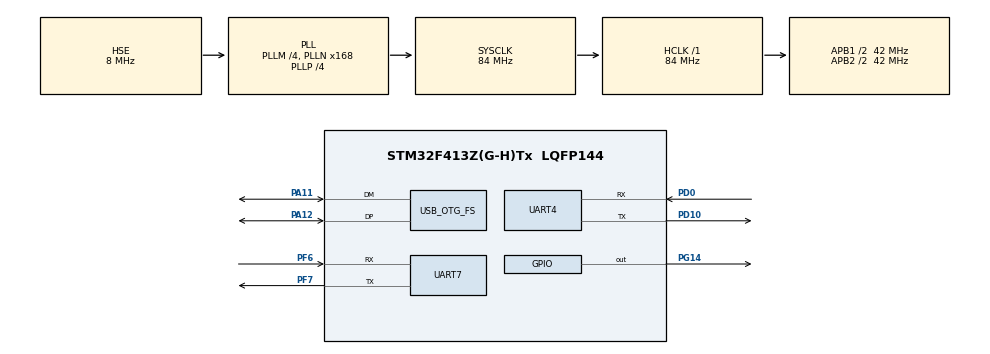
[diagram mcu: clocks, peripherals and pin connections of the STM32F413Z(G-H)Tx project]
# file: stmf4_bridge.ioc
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FREERTOS.Tasks01=defaultTask,0,128,StartDefaultTask,Default,NULL,Dynamic,NULL,NULL
Mcu.Family=STM32F4
Mcu.Name=STM32F413Z(G-H)Tx
Mcu.Package=LQFP144
NVIC.OTG_FS_IRQn=true\:5\:0\:false\:false\:true\:true\:false\:true
NVIC.PriorityGroup=NVIC_PRIORITYGROUP_4
NVIC.TIM6_DAC_IRQn=true\:0\:0\:false\:false\:true\:false\:false\:true
NVIC.TimeBase=TIM6_DAC_IRQn
NVIC.TimeBaseIP=TIM6
NVIC.UART4_IRQn=true\:5\:0\:false\:false\:true\:true\:true\:true
NVIC.UART7_IRQn=true\:5\:0\:false\:false\:true\:true\:true\:true
PA11.Mode=Device_Only
PA11.Signal=USB_OTG_FS_DM
PA12.Mode=Device_Only
PA12.Signal=USB_OTG_FS_DP
PA13.Mode=Serial_Wire
PA13.Signal=SYS_JTMS-SWDIO
PA14.Mode=Serial_Wire
PA14.Signal=SYS_JTCK-SWCLK
PD0.Mode=Asynchronous
PD0.Signal=UART4_RX
PD10.Mode=Asynchronous
PD10.Signal=UART4_TX
PF6.Mode=Asynchronous
PF6.Signal=UART7_RX
PF7.Mode=Asynchronous
PF7.Signal=UART7_TX
PG14.PinState=GPIO_PIN_SET
PG14.Signal=GPIO_Output
PH0\ -\ OSC_IN.Mode=HSE-External-Oscillator
PH0\ -\ OSC_IN.Signal=RCC_OSC_IN
PH1\ -\ OSC_OUT.Mode=HSE-External-Oscillator
PH1\ -\ OSC_OUT.Signal=RCC_OSC_OUT
ProjectManager.HeapSize=0x200
ProjectManager.StackSize=0x400
ProjectManager.TargetToolchain=STM32CubeIDE
RCC.AHBFreq_Value=84000000
RCC.APB1CLKDivider=RCC_HCLK_DIV2
RCC.APB1Freq_Value=42000000
RCC.APB1TimFreq_Value=84000000
RCC.APB2CLKDivider=RCC_HCLK_DIV2
RCC.APB2Freq_Value=42000000
RCC.APB2TimFreq_Value=84000000
RCC.CortexFreq_Value=84000000
RCC.HCLKFreq_Value=84000000
RCC.HSE_VALUE=8000000
RCC.PLLM=4
RCC.PLLN=168
RCC.PLLP=RCC_PLLP_DIV4
RCC.PLLQ=7
RCC.SYSCLKFreq_VALUE=84000000
RCC.SYSCLKSource=RCC_SYSCLKSOURCE_PLLCLK
RCC.USBFreq_Value=48000000
RCC.VCOOutputFreq_Value=336000000
UART4.VirtualMode=Asynchronous
UART7.VirtualMode=Asynchronous
USB_DEVICE.CLASS_NAME_FS=CDC
USB_DEVICE.VirtualMode=Cdc
USB_DEVICE.VirtualModeFS=Cdc_FS
USB_OTG_FS.VirtualMode=Device_Only
VP_FREERTOS_VS_CMSIS_V1.Mode=CMSIS_V1
VP_SYS_VS_tim6.Mode=TIM6
VP_USB_DEVICE_VS_USB_DEVICE_CDC_FS.Mode=CDC_FS
board=custom

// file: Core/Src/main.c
/* USER CODE BEGIN Header */
/**
  ******************************************************************************
  * @file           : main.c
  * @brief          : Main program body
  ******************************************************************************
  * @attention
  *
  * <h2><center>&copy; Copyright (c) 2021 STMicroelectronics.
  * All rights reserved.</center></h2>
  *
  * This software component is licensed by ST under BSD 3-Clause license,
  * the "License"; You may not use this file except in compliance with the
  * License. You may obtain a copy of the License at:
  *                        opensource.org/licenses/BSD-3-Clause
  *
  ******************************************************************************
  */
/* USER CODE END Header */
#include "main.h"
#include "cmsis_os.h"
#include "usart.h"
#include "usb_device.h"
#include "gpio.h"

void SystemClock_Config(void);
void MX_FREERTOS_Init(void);

int main(void)
{

  /* MCU Configuration--------------------------------------------------------*/

  /* Reset of all peripherals, Initializes the Flash interface and the Systick. */
  HAL_Init();

  /* Configure the system clock */
  SystemClock_Config();

  /* Initialize all configured peripherals */
  MX_GPIO_Init();
  MX_UART4_Init();
  MX_UART7_Init();

  /* Call init function for freertos objects (in freertos.c) */
  MX_FREERTOS_Init();
  /* Start scheduler */
  osKernelStart();

  /* We should never get here as control is now taken by the scheduler */
  /* Infinite loop */
  while (1)
  {

  }
}

void SystemClock_Config(void)
{
  RCC_OscInitTypeDef RCC_OscInitStruct = {0};
  RCC_ClkInitTypeDef RCC_ClkInitStruct = {0};
  RCC_PeriphCLKInitTypeDef PeriphClkInitStruct = {0};

  /** Configure the main internal regulator output voltage
  */
  __HAL_RCC_PWR_CLK_ENABLE();
  __HAL_PWR_VOLTAGESCALING_CONFIG(PWR_REGULATOR_VOLTAGE_SCALE1);
  /** Initializes the RCC Oscillators according to the specified parameters
  * in the RCC_OscInitTypeDef structure.
  */
  RCC_OscInitStruct.OscillatorType = RCC_OSCILLATORTYPE_HSE;
  RCC_OscInitStruct.HSEState = RCC_HSE_ON;
  RCC_OscInitStruct.PLL.PLLState = RCC_PLL_ON;
  RCC_OscInitStruct.PLL.PLLSource = RCC_PLLSOURCE_HSE;
  RCC_OscInitStruct.PLL.PLLM = 4;
  RCC_OscInitStruct.PLL.PLLN = 168;
  RCC_OscInitStruct.PLL.PLLP = RCC_PLLP_DIV4;
  RCC_OscInitStruct.PLL.PLLQ = 7;
  RCC_OscInitStruct.PLL.PLLR = 2;
  if (HAL_RCC_OscConfig(&RCC_OscInitStruct) != HAL_OK)
  {
    Error_Handler();
  }
  /** Initializes the CPU, AHB and APB buses clocks
  */
  RCC_ClkInitStruct.ClockType = RCC_CLOCKTYPE_HCLK|RCC_CLOCKTYPE_SYSCLK
                              |RCC_CLOCKTYPE_PCLK1|RCC_CLOCKTYPE_PCLK2;
  RCC_ClkInitStruct.SYSCLKSource = RCC_SYSCLKSOURCE_PLLCLK;
  RCC_ClkInitStruct.AHBCLKDivider = RCC_SYSCLK_DIV1;
  RCC_ClkInitStruct.APB1CLKDivider = RCC_HCLK_DIV2;
  RCC_ClkInitStruct.APB2CLKDivider = RCC_HCLK_DIV2;

  if (HAL_RCC_ClockConfig(&RCC_ClkInitStruct, FLASH_LATENCY_3) != HAL_OK)
  {
    Error_Handler();
  }
  PeriphClkInitStruct.PeriphClockSelection = RCC_PERIPHCLK_CLK48;
  PeriphClkInitStruct.Clk48ClockSelection = RCC_CLK48CLKSOURCE_PLLQ;
  if (HAL_RCCEx_PeriphCLKConfig(&PeriphClkInitStruct) != HAL_OK)
  {
    Error_Handler();
  }
}

 /**
  * @brief  Period elapsed callback in non blocking mode
  * @note   This function is called  when TIM6 interrupt took place, inside
  * HAL_TIM_IRQHandler(). It makes a direct call to HAL_IncTick() to increment
  * a global variable "uwTick" used as application time base.
  * @param  htim : TIM handle
  * @retval None
  */
void HAL_TIM_PeriodElapsedCallback(TIM_HandleTypeDef *htim)
{
  if (htim->Instance == TIM6) {
    HAL_IncTick();
  }
}

void Error_Handler(void)
{
  __disable_irq();
  while (1)
  {
  }
}

/************************ (C) COPYRIGHT STMicroelectronics *****END OF FILE****/

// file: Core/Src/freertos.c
/* USER CODE BEGIN Header */
/**
  ******************************************************************************
  * File Name          : freertos.c
  * Description        : Code for freertos applications
  ******************************************************************************
  * @attention
  *
  * <h2><center>&copy; Copyright (c) 2021 STMicroelectronics.
  * All rights reserved.</center></h2>
  *
  * This software component is licensed by ST under Ultimate Liberty license
  * SLA0044, the "License"; You may not use this file except in compliance with
  * the License. You may obtain a copy of the License at:
  *                             www.st.com/SLA0044
  *
  ******************************************************************************
  */
/* USER CODE END Header */

#include "FreeRTOS.h"
#include "task.h"
#include "main.h"
#include "cmsis_os.h"

/* USER CODE BEGIN Includes */
#include "usart.h"
#include "gpio.h"

#define QSIZE 128*4

uint8_t test_uart7_buff[QSIZE];
uint64_t rx_7= 0;
uint64_t tx_7 = 0;
uint8_t flag_7 = 1;

uint8_t test_uart4_buff[QSIZE];
uint64_t rx_4 = 0;
uint64_t tx_4 = 0;
uint8_t flag_4 = 1;
uint64_t mask = QSIZE-1;
/* USER CODE END Includes */

/* USER CODE BEGIN Variables */
static TaskHandle_t myHandle = NULL;
static void myTask(void *pvarg);
/* USER CODE END Variables */
osThreadId defaultTaskHandle;

void StartDefaultTask(void const * argument);

extern void MX_USB_DEVICE_Init(void);
void MX_FREERTOS_Init(void); /* (MISRA C 2004 rule 8.1) */

/* GetIdleTaskMemory prototype (linked to static allocation support) */
void vApplicationGetIdleTaskMemory( StaticTask_t **ppxIdleTaskTCBBuffer, StackType_t **ppxIdleTaskStackBuffer, uint32_t *pulIdleTaskStackSize );

/* USER CODE BEGIN GET_IDLE_TASK_MEMORY */
static StaticTask_t xIdleTaskTCBBuffer;
static StackType_t xIdleStack[configMINIMAL_STACK_SIZE];

void vApplicationGetIdleTaskMemory( StaticTask_t **ppxIdleTaskTCBBuffer, StackType_t **ppxIdleTaskStackBuffer, uint32_t *pulIdleTaskStackSize )
{
  *ppxIdleTaskTCBBuffer = &xIdleTaskTCBBuffer;
  *ppxIdleTaskStackBuffer = &xIdleStack[0];
  *pulIdleTaskStackSize = configMINIMAL_STACK_SIZE;
  /* place for user code */
}
/* USER CODE END GET_IDLE_TASK_MEMORY */

void MX_FREERTOS_Init(void) {

  /* Create the thread(s) */
  /* definition and creation of defaultTask */
  osThreadDef(defaultTask, StartDefaultTask, osPriorityNormal, 0, 128);
  defaultTaskHandle = osThreadCreate(osThread(defaultTask), NULL);

  /* USER CODE BEGIN RTOS_THREADS */
  xTaskCreate(myTask, "myTaskName",
                256, NULL, 1, &myHandle);
  /* USER CODE END RTOS_THREADS */

}

void StartDefaultTask(void const * argument)
{
  /* init code for USB_DEVICE */
  MX_USB_DEVICE_Init();
  for(;;)
  {
    osDelay(1);
  }
}

/* USER CODE BEGIN Application */
static void myTask(void *pvarg)
{
	HAL_UART_Receive_IT(&huart7, &test_uart7_buff[rx_7++], 1);
	HAL_UART_Receive_IT(&huart4, &test_uart4_buff[rx_4++], 1);

  for(;;)
  {
	  if (flag_4 && tx_7 < rx_7-1)
	  {
		  flag_4 = 0;
		  HAL_UART_Transmit_IT(&huart4, &test_uart7_buff[mask & tx_7++], 1);
	  }

	  if (flag_7 && tx_4 < rx_4-1)
	  {
		  flag_7 = 0;
		  HAL_UART_Transmit_IT(&huart7, &test_uart4_buff[mask & tx_4++], 1);

	  }
  }
}

void HAL_UART_TxCpltCallback(UART_HandleTypeDef *huart)
{
	if (huart->Instance == UART4)
	{
		flag_4 = 1;
	}
	else if (huart->Instance == UART7)
	{
		flag_7 = 1;
	}
}

void HAL_UART_RxCpltCallback(UART_HandleTypeDef *huart)
{
	if (huart->Instance == UART4)
	{
	  HAL_UART_Receive_IT(&huart4, &test_uart4_buff[mask & rx_4++], 1);
	}
	else if (huart->Instance == UART7)
	{
	  HAL_UART_Receive_IT(&huart7, &test_uart7_buff[mask & rx_7++], 1);
	}
}
/* USER CODE END Application */

/************************ (C) COPYRIGHT STMicroelectronics *****END OF FILE****/
